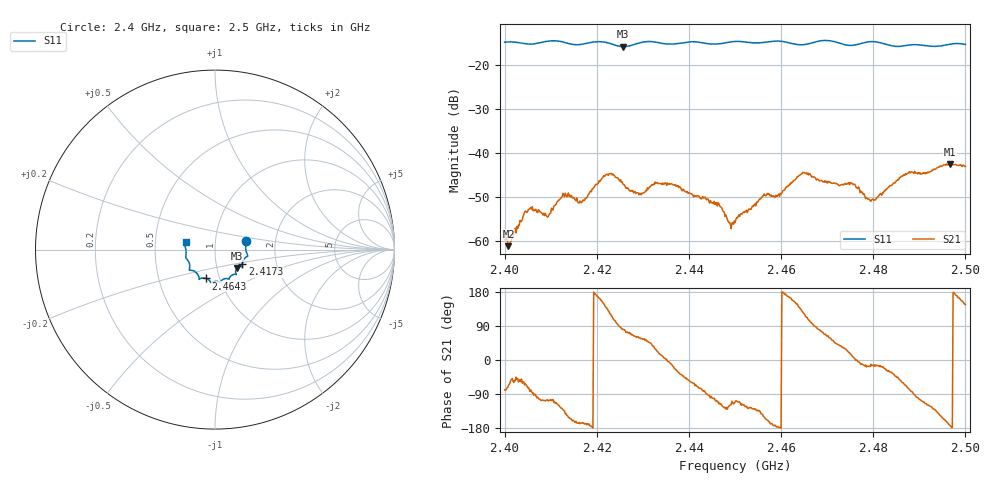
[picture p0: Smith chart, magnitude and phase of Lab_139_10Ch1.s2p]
# Hz S RI R 50
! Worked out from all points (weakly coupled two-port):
!   601 points, 2.4 GHz to 2.5 GHz, reference 50 ohm
!   highest |S21| = -42.46 dB at 2.4967 GHz (marker M1); lowest = -61.1 dB at 2.4008 GHz (marker M2)
!   lowest |S11| = -15.9 dB at 2.4257 GHz (marker M3), VSWR 1.38, Z = 62.5 - j13.1 ohm
!   |S11| at or under -10 dB: start of sweep to end of sweep
!   S12 and S22 are empty: the file has one direction only
!   S11 on the Smith chart (normalised r, x): 2.4 GHz: 1.41, +0.14; 2.4173 GHz: 1.34, -0.23; 2.4643 GHz: 0.86, -0.28; 2.5 GHz: 0.72, +0.06
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2.4e9  0.1733 0.0489  0.000204 -0.00102  0 0  0 0
2.400833e9  0.1756 0.0457  0.000335 -0.00082  0 0  0 0
2.4055e9  0.1708 0.00783  0.000284 -0.00234  0 0  0 0
2.409167e9  0.1817 -0.0301  -0.000501 -0.00186  0 0  0 0
2.412833e9  0.1752 -0.0403  -0.00229 -0.00245  0 0  0 0
2.416667e9  0.1529 -0.0746  -0.00267 -0.000654  0 0  0 0
2.417333e9  0.152 -0.082  -0.00286 -0.000548  0 0  0 0
2.421833e9  0.1522 -0.0956  -0.0044 0.00347  0 0  0 0
2.425667e9  0.123 -0.1022  0.000676 0.00443  0 0  0 0
2.4295e9  0.1166 -0.1346  0.0019 0.00286  0 0  0 0
2.433333e9  0.1127 -0.1375  0.00424 0.00161  0 0  0 0
2.446e9  0.0475 -0.1647  -0.000787 -0.00265  0 0  0 0
2.448833e9  0.032 -0.1775  -0.000818 -0.00143  0 0  0 0
2.45e9  0.0289 -0.181  -0.000578 -0.00153  0 0  0 0
2.464333e9  -0.0499 -0.1604  -0.00398 0.00421  0 0  0 0
2.466667e9  -0.0758 -0.1591  -0.000606 0.00531  0 0  0 0
2.4755e9  -0.1115 -0.1223  0.00447 0.000741  0 0  0 0
2.479167e9  -0.1418 -0.1145  0.00288 -0.000854  0 0  0 0
2.483333e9  -0.1408 -0.0897  0.00363 -0.0019  0 0  0 0
2.487833e9  -0.1591 -0.051  0.00128 -0.00603  0 0  0 0
2.496667e9  -0.1691 0.0248  -0.00747 -0.000991  0 0  0 0
2.5e9  -0.1641 0.0428  -0.00586 0.00393  0 0  0 0
